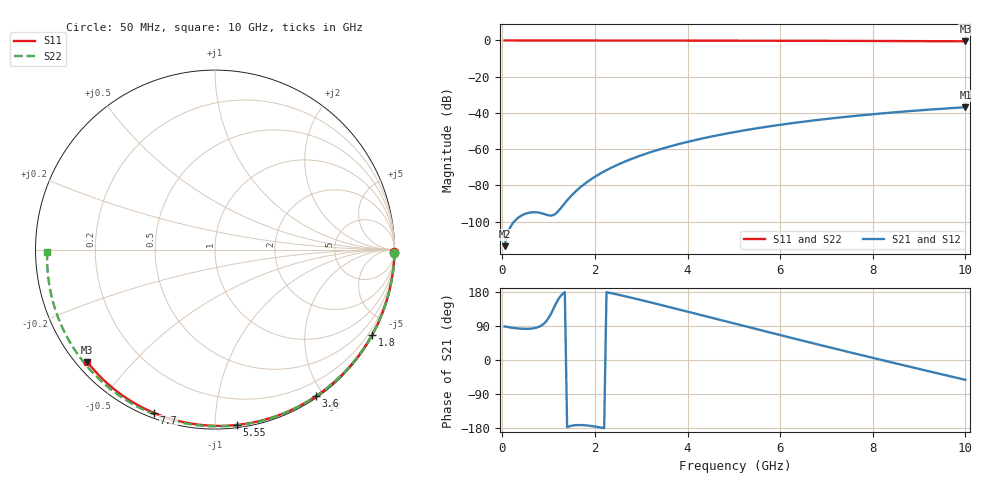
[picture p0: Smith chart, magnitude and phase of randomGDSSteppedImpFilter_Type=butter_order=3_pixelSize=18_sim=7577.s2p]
! freq	dB(S11)	phase(S11)	dB(S12)	phase(S12)
!  dB(S21)	phase(S21)	dB(S22)	phase(S22)
!S-par simulation data
#  GHz  S  DB  R 50
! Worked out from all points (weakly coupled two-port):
!   200 points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, 50 MHz to 10 GHz, reference 50 ohm
!   highest |S21| = -36.84 dB at 10 GHz (marker M1); lowest = -113.5 dB at 50 MHz (marker M2)
!   lowest |S11| = -0.5 dB at 10 GHz (marker M3), VSWR 36.90, Z = 1.55 - j18.9 ohm
!   |S11| at or under -10 dB: nowhere
!   |S22| runs from -0.6 to 0.0 dB; largest |S21 - S12| = 0
!   S11 on the Smith chart (normalised r, x): 50 MHz: open; 1.8 GHz: 0.03, -3.95; 3.6 GHz: 0.02, -1.90; 5.55 GHz: 0.02, -1.13; 7.7 GHz: 0.02, -0.69; 10 GHz: 0.03, -0.38
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0.05  -0.00 -0.8  -113.47 88.7  -113.47 88.7  -0.00 -1.0
0.45  -0.01 -7.2  -96.11 82.4  -96.11 82.4  -0.01 -9.1
0.85  -0.02 -13.6  -95.31 91.4  -95.31 91.4  -0.02 -17.2
1.25  -0.02 -19.9  -92.91 167.4  -92.91 167.4  -0.03 -25.1
1.7  -0.03 -26.9  -80.67 -171.6  -80.67 -171.6  -0.04 -34.0
1.75  -0.04 -27.7  -79.65 -171.9  -79.65 -171.9  -0.04 -34.9
1.8  -0.04 -28.4  -78.67 -172.4  -78.67 -172.4  -0.05 -35.9
2.1  -0.04 -33.1  -73.65 -177.6  -73.65 -177.6  -0.05 -41.7
2.3  -0.05 -36.1  -70.88 177.7  -70.88 177.7  -0.06 -45.6
2.5  -0.05 -39.2  -68.45 172.5  -68.45 172.5  -0.06 -49.4
2.9  -0.06 -45.2  -64.29 161.1  -64.29 161.1  -0.07 -56.9
3.4  -0.07 -52.6  -60.06 146.1  -60.06 146.1  -0.09 -66.2
3.6  -0.07 -55.5  -58.58 140.0  -58.58 140.0  -0.09 -69.8
4.3  -0.09 -65.6  -54.16 118.3  -54.16 118.3  -0.12 -82.3
5.05  -0.12 -76.0  -50.37 95.0  -50.37 95.0  -0.15 -95.4
5.55  -0.14 -82.8  -48.23 79.5  -48.23 79.5  -0.17 -103.9
6.1  -0.16 -90.1  -46.16 62.7  -46.16 62.7  -0.20 -113.1
6.7  -0.19 -97.9  -44.18 44.4  -44.18 44.4  -0.24 -123.0
7.7  -0.25 -110.6  -41.41 14.5  -41.41 14.5  -0.32 -139.5
8.35  -0.30 -118.6  -39.90 -4.7  -39.90 -4.7  -0.38 -150.4
9.2  -0.38 -129.0  -38.19 -29.4  -38.19 -29.4  -0.48 -164.9
10  -0.47 -138.7  -36.84 -52.4  -36.84 -52.4  -0.59 -179.3
